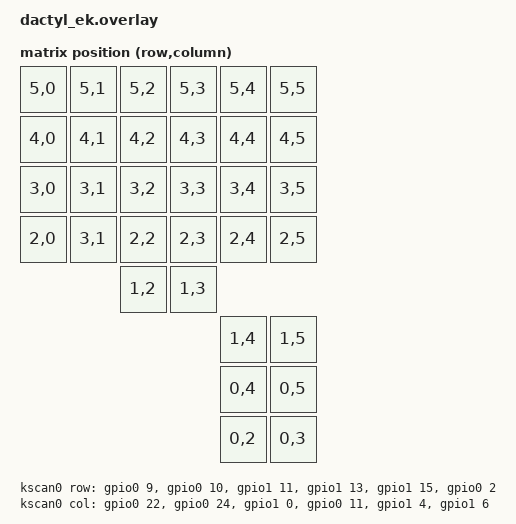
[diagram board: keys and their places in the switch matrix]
#include <dt-bindings/zmk/matrix_transform.h>

/ {
    chosen {
        zmk,kscan = &kscan0;
        zmk,matrix_transform = &default_transform;
    };

    kscan0: kscan_0 {
        compatible = "zmk,kscan-gpio-matrix";
        label = "KSCAN";
        diode-direction = "col2row";

        col-gpios
            = <&gpio0 22 GPIO_ACTIVE_HIGH> // col5 in the schematic
            , <&gpio0 24 GPIO_ACTIVE_HIGH> // col4 in the schematic
            , <&gpio1 0  GPIO_ACTIVE_HIGH> // col3 in the schematic
            , <&gpio0 11 GPIO_ACTIVE_HIGH> // col2 in the schematic
            , <&gpio1 4  GPIO_ACTIVE_HIGH> // col1 in the schematic
            , <&gpio1 6  GPIO_ACTIVE_HIGH> // col0 in the schematic
            ;

        row-gpios
            = <&gpio0 9  (GPIO_ACTIVE_HIGH | GPIO_PULL_DOWN)> // Row 0 from the schematic file
            , <&gpio0 10 (GPIO_ACTIVE_HIGH | GPIO_PULL_DOWN)> // Row 1 from the schematic file
            , <&gpio1 11 (GPIO_ACTIVE_HIGH | GPIO_PULL_DOWN)> // Row 2 from the schematic file
            , <&gpio1 13 (GPIO_ACTIVE_HIGH | GPIO_PULL_DOWN)> // Row 3 from the schematic file
            , <&gpio1 15 (GPIO_ACTIVE_HIGH | GPIO_PULL_DOWN)> // Row 4 from the schematic file
            , <&gpio0 2  (GPIO_ACTIVE_HIGH | GPIO_PULL_DOWN)> // Row 5 from the schematic file
            ;

    };
    default_transform: keymap_transform_0 {
        compatible = "zmk,matrix-transform";
        columns = <6>;
        rows = <8>;
        map = <
            RC(5, 0) RC(5, 1) RC(5, 2) RC(5, 3) RC(5, 4) RC(5, 5)
            RC(4, 0) RC(4, 1) RC(4, 2) RC(4, 3) RC(4, 4) RC(4, 5)
            RC(3, 0) RC(3, 1) RC(3, 2) RC(3, 3) RC(3, 4) RC(3, 5)
            RC(2, 0) RC(3, 1) RC(2, 2) RC(2, 3) RC(2, 4) RC(2, 5)
                              RC(1, 2) RC(1, 3)
                                                RC(1, 4) RC(1, 5)
                                                RC(0, 4) RC(0, 5)
                                                RC(0, 2) RC(0, 3)
        >;
    };
};
